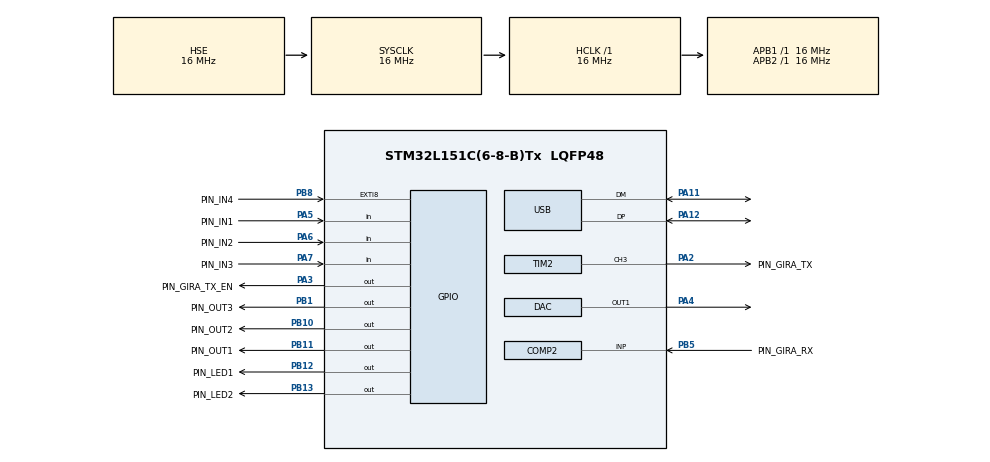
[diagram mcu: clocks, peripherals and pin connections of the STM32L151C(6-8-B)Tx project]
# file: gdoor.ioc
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COMP2.InvertingInput=COMP_INVERTINGINPUT_DAC1
COMP2.TriggerMode=COMP_TRIGGERMODE_IT_RISING
Mcu.Family=STM32L1
Mcu.Name=STM32L151C(6-8-B)Tx
Mcu.Package=LQFP48
NVIC.COMP_IRQn=true\:0\:0\:false\:false\:true\:false\:true\:true
NVIC.EXTI9_5_IRQn=true\:0\:0\:false\:false\:true\:true\:true\:true
NVIC.PriorityGroup=NVIC_PRIORITYGROUP_4
NVIC.TIM11_IRQn=true\:0\:0\:false\:false\:true\:true\:true\:true
NVIC.TIM2_IRQn=true\:0\:0\:false\:false\:true\:true\:true\:true
NVIC.TIM3_IRQn=true\:0\:0\:false\:false\:true\:true\:true\:true
NVIC.TIM4_IRQn=true\:0\:0\:false\:false\:true\:true\:true\:true
NVIC.USB_LP_IRQn=true\:0\:0\:false\:false\:true\:false\:true\:true
PA11.Mode=Device
PA11.Signal=USB_DM
PA12.Mode=Device
PA12.Signal=USB_DP
PA13.Mode=JTAG_4_pins
PA13.Signal=SYS_JTMS-SWDIO
PA14.Mode=JTAG_4_pins
PA14.Signal=SYS_JTCK-SWCLK
PA15.Mode=JTAG_4_pins
PA15.Signal=SYS_JTDI
PA2.GPIO_Label=PIN_GIRA_TX
PA2.GPIO_Speed=GPIO_SPEED_FREQ_VERY_HIGH
PA2.Signal=S_TIM2_CH3
PA3.GPIO_Label=PIN_GIRA_TX_EN
PA3.Signal=GPIO_Output
PA4.Signal=COMP_DAC1_group
PA5.GPIO_Label=PIN_IN1
PA5.GPIO_PuPd=GPIO_PULLUP
PA5.Signal=GPIO_Input
PA6.GPIO_Label=PIN_IN2
PA6.GPIO_PuPd=GPIO_PULLUP
PA6.Signal=GPIO_Input
PA7.GPIO_Label=PIN_IN3
PA7.GPIO_PuPd=GPIO_PULLUP
PA7.Signal=GPIO_Input
PB1.GPIO_Label=PIN_OUT3
PB1.GPIO_PuPd=GPIO_NOPULL
PB1.Signal=GPIO_Output
PB10.GPIO_Label=PIN_OUT2
PB10.Signal=GPIO_Output
PB11.GPIO_Label=PIN_OUT1
PB11.Signal=GPIO_Output
PB12.GPIO_Label=PIN_LED1
PB12.Signal=GPIO_Output
PB13.GPIO_Label=PIN_LED2
PB13.Signal=GPIO_Output
PB3.Mode=JTAG_4_pins
PB3.Signal=SYS_JTDO-TRACESWO
PB5.GPIO_Label=PIN_GIRA_RX
PB5.Mode=INP
PB5.Signal=COMP2_INP
PB8.GPIO_Label=PIN_IN4
PB8.GPIO_PuPd=GPIO_PULLDOWN
PB8.Signal=GPXTI8
PH0-OSC_IN.Mode=HSE-External-Oscillator
PH0-OSC_IN.Signal=RCC_OSC_IN
PH1-OSC_OUT.Mode=HSE-External-Oscillator
PH1-OSC_OUT.Signal=RCC_OSC_OUT
ProjectManager.HeapSize=0x200
ProjectManager.StackSize=0x400
ProjectManager.TargetToolchain=STM32CubeIDE
RCC.48MHZClocksFreq_Value=48000000
RCC.AHBFreq_Value=16000000
RCC.APB1Freq_Value=16000000
RCC.APB1TimFreq_Value=16000000
RCC.APB2Freq_Value=16000000
RCC.APB2TimFreq_Value=16000000
RCC.HCLKFreq_Value=16000000
RCC.HSE_VALUE=16000000
RCC.HSI_VALUE=16000000
RCC.LSE_VALUE=32768
RCC.MSI_VALUE=2097000
RCC.PLLMUL=RCC_PLL_MUL6
RCC.SYSCLKFreq_VALUE=16000000
RCC.SYSCLKSource=RCC_SYSCLKSOURCE_HSE
RCC.VCOOutputFreq_Value=96000000
SH.COMP_DAC1_group.0=DAC_OUT1,DAC_OUT1
SH.S_TIM2_CH3.0=TIM2_CH3,Output Compare3 CH3
TIM11.AutoReloadPreload=TIM_AUTORELOAD_PRELOAD_ENABLE
TIM11.Period=16000
TIM11.Prescaler=1000
TIM2.AutoReloadPreload=TIM_AUTORELOAD_PRELOAD_DISABLE
TIM2.Channel-Output\ Compare3\ CH3=TIM_CHANNEL_3
TIM2.ClockDivision=TIM_CLOCKDIVISION_DIV1
TIM2.OCMode_3=TIM_OCMODE_ACTIVE
TIM2.Period=260
TIM2.Prescaler=0
TIM2.Pulse-Output\ Compare3\ CH3=130
TIM3.Period=1000
USB.low_power_enable=DISABLE
USB.lpm_enable=ENABLE
USB_DEVICE.CLASS_NAME_FS=CDC
USB_DEVICE.VirtualMode=Cdc
USB_DEVICE.VirtualModeFS=Cdc_FS
VP_COMP2_VS_DACOUT1.Mode=INM_DACOUT1
VP_TIM11_VS_ClockSourceINT.Mode=Internal
VP_TIM2_VS_ClockSourceINT.Mode=Internal
VP_TIM3_VS_ClockSourceINT.Mode=Internal
VP_TIM4_VS_ClockSourceINT.Mode=Internal
VP_USB_DEVICE_VS_USB_DEVICE_CDC_FS.Mode=CDC_FS
board=custom

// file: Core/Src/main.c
/* USER CODE BEGIN Header */
/**
  ******************************************************************************
  * @file           : main.c
  * @brief          : Main program body
  ******************************************************************************
  * @attention
  *
  * Copyright (c) 2022 STMicroelectronics.
  * All rights reserved.
  *
  * This software is licensed under terms that can be found in the LICENSE file
  * in the root directory of this software component.
  * If no LICENSE file comes with this software, it is provided AS-IS.
  *
  ******************************************************************************
  */
/* USER CODE END Header */
#include "main.h"
#include "usb_device.h"

/* USER CODE BEGIN Includes */
#include "main_arduino.h"
#include "gdoor_rx.h"
#include "gdoor_tx.h"
#include "gdoor_io.h"
#include "usbd_cdc_if.h"
/* USER CODE END Includes */

/* USER CODE BEGIN PD */
#define USB_RX_MAXLEN 200
/* USER CODE END PD */

COMP_HandleTypeDef hcomp2;

DAC_HandleTypeDef hdac;

TIM_HandleTypeDef htim2;
TIM_HandleTypeDef htim3;
TIM_HandleTypeDef htim4;
TIM_HandleTypeDef htim11;

/* USER CODE BEGIN PV */
uint32_t usb_ptr = 0;
uint8_t usb_buffer[USB_RX_MAXLEN];
/* USER CODE END PV */

void SystemClock_Config(void);
static void MX_GPIO_Init(void);
static void MX_COMP2_Init(void);
static void MX_TIM2_Init(void);
static void MX_TIM3_Init(void);
static void MX_TIM4_Init(void);
static void MX_TIM11_Init(void);
static void MX_DAC_Init(void);

/* USER CODE BEGIN 0 */

void usb_rx_flush() {
	usb_ptr = 0;
}

void usb_rx_interrupt(uint8_t* Buf, uint32_t *Len) {
	for(uint32_t i = 0; i< *Len; i++) {
		if(usb_ptr >= USB_RX_MAXLEN) {
			usb_ptr = 0;
		}
		usb_buffer[usb_ptr] = Buf[*Len];
		usb_ptr = usb_ptr + 1;
	}
}

void HAL_TIM_PeriodElapsedCallback(TIM_HandleTypeDef *htim) {
	if(htim->Instance==TIM2) {
		arduino_timer2_interrupt();
	} else if(htim->Instance==TIM3) {
		arduino_timer3_interrupt();
	} else if(htim->Instance==TIM4) {
		arduino_timer4_interrupt();
	} else if(htim->Instance==TIM11) {
		arduino_timer11_interrupt();
	}
}

/*void HAL_TIM_IC_CaptureCallback(TIM_HandleTypeDef *htim) {
	if(htim->Instance==TIM2) {
		arduino_timer2_interrupt();
	} else if(htim->Instance==TIM3) {
		arduino_timer3_interrupt();
	} else if(htim->Instance==TIM4) {
		arduino_timer4_interrupt();
	} else if(htim->Instance==TIM11) {
		arduino_timer11_interrupt();
	}
}*/

void HAL_GPIO_EXTI_Callback(uint16_t GPIO_Pin) {
	arduino_gpio_interrupt(GPIO_Pin);
}

void HAL_COMP_TriggerCallback(COMP_HandleTypeDef *hcomp) {
	arduino_comparator_interrupt();
}

/* USER CODE END 0 */

int main(void)
{

  /* MCU Configuration--------------------------------------------------------*/

  /* Reset of all peripherals, Initializes the Flash interface and the Systick. */
  HAL_Init();

  /* Configure the system clock */
  SystemClock_Config();

  /* Initialize all configured peripherals */
  MX_GPIO_Init();
  MX_COMP2_Init();
  MX_TIM2_Init();
  MX_USB_DEVICE_Init();
  MX_TIM3_Init();
  MX_TIM4_Init();
  MX_TIM11_Init();
  MX_DAC_Init();
  /* USER CODE BEGIN 2 */
  //Launch Setup function, so that code is more clean from ST garbage
  arduino_setup();

  /* USER CODE END 2 */

  /* Infinite loop */
  /* USER CODE BEGIN WHILE */
  while (1)
  {
	 arduino_loop();
    /* USER CODE END WHILE */

  }
}

void SystemClock_Config(void)
{
  RCC_OscInitTypeDef RCC_OscInitStruct = {0};
  RCC_ClkInitTypeDef RCC_ClkInitStruct = {0};

  /** Configure the main internal regulator output voltage
  */
  __HAL_PWR_VOLTAGESCALING_CONFIG(PWR_REGULATOR_VOLTAGE_SCALE1);

  /** Initializes the RCC Oscillators according to the specified parameters
  * in the RCC_OscInitTypeDef structure.
  */
  RCC_OscInitStruct.OscillatorType = RCC_OSCILLATORTYPE_HSE;
  RCC_OscInitStruct.HSEState = RCC_HSE_ON;
  RCC_OscInitStruct.PLL.PLLState = RCC_PLL_ON;
  RCC_OscInitStruct.PLL.PLLSource = RCC_PLLSOURCE_HSE;
  RCC_OscInitStruct.PLL.PLLMUL = RCC_PLL_MUL6;
  RCC_OscInitStruct.PLL.PLLDIV = RCC_PLL_DIV2;
  if (HAL_RCC_OscConfig(&RCC_OscInitStruct) != HAL_OK)
  {
    Error_Handler();
  }

  /** Initializes the CPU, AHB and APB buses clocks
  */
  RCC_ClkInitStruct.ClockType = RCC_CLOCKTYPE_HCLK|RCC_CLOCKTYPE_SYSCLK
                              |RCC_CLOCKTYPE_PCLK1|RCC_CLOCKTYPE_PCLK2;
  RCC_ClkInitStruct.SYSCLKSource = RCC_SYSCLKSOURCE_HSE;
  RCC_ClkInitStruct.AHBCLKDivider = RCC_SYSCLK_DIV1;
  RCC_ClkInitStruct.APB1CLKDivider = RCC_HCLK_DIV1;
  RCC_ClkInitStruct.APB2CLKDivider = RCC_HCLK_DIV1;

  if (HAL_RCC_ClockConfig(&RCC_ClkInitStruct, FLASH_LATENCY_0) != HAL_OK)
  {
    Error_Handler();
  }
}

static void MX_COMP2_Init(void)
{

  hcomp2.Instance = COMP2;
  hcomp2.Init.InvertingInput = COMP_INVERTINGINPUT_DAC1;
  hcomp2.Init.NonInvertingInput = COMP_NONINVERTINGINPUT_PB5;
  hcomp2.Init.Output = COMP_OUTPUT_NONE;
  hcomp2.Init.Mode = COMP_MODE_LOWSPEED;
  hcomp2.Init.WindowMode = COMP_WINDOWMODE_DISABLE;
  hcomp2.Init.TriggerMode = COMP_TRIGGERMODE_IT_RISING;
  if (HAL_COMP_Init(&hcomp2) != HAL_OK)
  {
    Error_Handler();
  }

}

static void MX_DAC_Init(void)
{

  DAC_ChannelConfTypeDef sConfig = {0};

  /** DAC Initialization
  */
  hdac.Instance = DAC;
  if (HAL_DAC_Init(&hdac) != HAL_OK)
  {
    Error_Handler();
  }

  /** DAC channel OUT1 config
  */
  sConfig.DAC_Trigger = DAC_TRIGGER_NONE;
  sConfig.DAC_OutputBuffer = DAC_OUTPUTBUFFER_ENABLE;
  if (HAL_DAC_ConfigChannel(&hdac, &sConfig, DAC_CHANNEL_1) != HAL_OK)
  {
    Error_Handler();
  }

}

static void MX_TIM2_Init(void)
{

  TIM_ClockConfigTypeDef sClockSourceConfig = {0};
  TIM_MasterConfigTypeDef sMasterConfig = {0};
  TIM_OC_InitTypeDef sConfigOC = {0};

  htim2.Instance = TIM2;
  htim2.Init.Prescaler = 0;
  htim2.Init.CounterMode = TIM_COUNTERMODE_UP;
  htim2.Init.Period = 260;
  htim2.Init.ClockDivision = TIM_CLOCKDIVISION_DIV1;
  htim2.Init.AutoReloadPreload = TIM_AUTORELOAD_PRELOAD_DISABLE;
  if (HAL_TIM_Base_Init(&htim2) != HAL_OK)
  {
    Error_Handler();
  }
  sClockSourceConfig.ClockSource = TIM_CLOCKSOURCE_INTERNAL;
  if (HAL_TIM_ConfigClockSource(&htim2, &sClockSourceConfig) != HAL_OK)
  {
    Error_Handler();
  }
  if (HAL_TIM_OC_Init(&htim2) != HAL_OK)
  {
    Error_Handler();
  }
  sMasterConfig.MasterOutputTrigger = TIM_TRGO_RESET;
  sMasterConfig.MasterSlaveMode = TIM_MASTERSLAVEMODE_DISABLE;
  if (HAL_TIMEx_MasterConfigSynchronization(&htim2, &sMasterConfig) != HAL_OK)
  {
    Error_Handler();
  }
  sConfigOC.OCMode = TIM_OCMODE_ACTIVE;
  sConfigOC.Pulse = 130;
  sConfigOC.OCPolarity = TIM_OCPOLARITY_HIGH;
  sConfigOC.OCFastMode = TIM_OCFAST_DISABLE;
  if (HAL_TIM_OC_ConfigChannel(&htim2, &sConfigOC, TIM_CHANNEL_3) != HAL_OK)
  {
    Error_Handler();
  }
  HAL_TIM_MspPostInit(&htim2);

}

static void MX_TIM3_Init(void)
{

  TIM_ClockConfigTypeDef sClockSourceConfig = {0};
  TIM_MasterConfigTypeDef sMasterConfig = {0};

  htim3.Instance = TIM3;
  htim3.Init.Prescaler = 0;
  htim3.Init.CounterMode = TIM_COUNTERMODE_UP;
  htim3.Init.Period = 1000;
  htim3.Init.ClockDivision = TIM_CLOCKDIVISION_DIV1;
  htim3.Init.AutoReloadPreload = TIM_AUTORELOAD_PRELOAD_DISABLE;
  if (HAL_TIM_Base_Init(&htim3) != HAL_OK)
  {
    Error_Handler();
  }
  sClockSourceConfig.ClockSource = TIM_CLOCKSOURCE_INTERNAL;
  if (HAL_TIM_ConfigClockSource(&htim3, &sClockSourceConfig) != HAL_OK)
  {
    Error_Handler();
  }
  sMasterConfig.MasterOutputTrigger = TIM_TRGO_RESET;
  sMasterConfig.MasterSlaveMode = TIM_MASTERSLAVEMODE_DISABLE;
  if (HAL_TIMEx_MasterConfigSynchronization(&htim3, &sMasterConfig) != HAL_OK)
  {
    Error_Handler();
  }

}

static void MX_TIM4_Init(void)
{

  TIM_ClockConfigTypeDef sClockSourceConfig = {0};
  TIM_MasterConfigTypeDef sMasterConfig = {0};

  htim4.Instance = TIM4;
  htim4.Init.Prescaler = 0;
  htim4.Init.CounterMode = TIM_COUNTERMODE_UP;
  htim4.Init.Period = 65535;
  htim4.Init.ClockDivision = TIM_CLOCKDIVISION_DIV1;
  htim4.Init.AutoReloadPreload = TIM_AUTORELOAD_PRELOAD_DISABLE;
  if (HAL_TIM_Base_Init(&htim4) != HAL_OK)
  {
    Error_Handler();
  }
  sClockSourceConfig.ClockSource = TIM_CLOCKSOURCE_INTERNAL;
  if (HAL_TIM_ConfigClockSource(&htim4, &sClockSourceConfig) != HAL_OK)
  {
    Error_Handler();
  }
  sMasterConfig.MasterOutputTrigger = TIM_TRGO_RESET;
  sMasterConfig.MasterSlaveMode = TIM_MASTERSLAVEMODE_DISABLE;
  if (HAL_TIMEx_MasterConfigSynchronization(&htim4, &sMasterConfig) != HAL_OK)
  {
    Error_Handler();
  }

}

static void MX_TIM11_Init(void)
{

  TIM_ClockConfigTypeDef sClockSourceConfig = {0};

  htim11.Instance = TIM11;
  htim11.Init.Prescaler = 1000;
  htim11.Init.CounterMode = TIM_COUNTERMODE_UP;
  htim11.Init.Period = 16000;
  htim11.Init.ClockDivision = TIM_CLOCKDIVISION_DIV1;
  htim11.Init.AutoReloadPreload = TIM_AUTORELOAD_PRELOAD_ENABLE;
  if (HAL_TIM_Base_Init(&htim11) != HAL_OK)
  {
    Error_Handler();
  }
  sClockSourceConfig.ClockSource = TIM_CLOCKSOURCE_INTERNAL;
  if (HAL_TIM_ConfigClockSource(&htim11, &sClockSourceConfig) != HAL_OK)
  {
    Error_Handler();
  }

}

static void MX_GPIO_Init(void)
{
  GPIO_InitTypeDef GPIO_InitStruct = {0};

  /* GPIO Ports Clock Enable */
  __HAL_RCC_GPIOH_CLK_ENABLE();
  __HAL_RCC_GPIOA_CLK_ENABLE();
  __HAL_RCC_GPIOB_CLK_ENABLE();

  /*Configure GPIO pin Output Level */
  HAL_GPIO_WritePin(PIN_GIRA_TX_EN_GPIO_Port, PIN_GIRA_TX_EN_Pin, GPIO_PIN_RESET);

  /*Configure GPIO pin Output Level */
  HAL_GPIO_WritePin(GPIOB, PIN_OUT3_Pin|PIN_OUT2_Pin|PIN_OUT1_Pin|PIN_LED1_Pin
                          |PIN_LED2_Pin, GPIO_PIN_RESET);

  /*Configure GPIO pin : PIN_GIRA_TX_EN_Pin */
  GPIO_InitStruct.Pin = PIN_GIRA_TX_EN_Pin;
  GPIO_InitStruct.Mode = GPIO_MODE_OUTPUT_PP;
  GPIO_InitStruct.Pull = GPIO_NOPULL;
  GPIO_InitStruct.Speed = GPIO_SPEED_FREQ_LOW;
  HAL_GPIO_Init(PIN_GIRA_TX_EN_GPIO_Port, &GPIO_InitStruct);

  /*Configure GPIO pins : PIN_IN1_Pin PIN_IN2_Pin PIN_IN3_Pin */
  GPIO_InitStruct.Pin = PIN_IN1_Pin|PIN_IN2_Pin|PIN_IN3_Pin;
  GPIO_InitStruct.Mode = GPIO_MODE_INPUT;
  GPIO_InitStruct.Pull = GPIO_PULLUP;
  HAL_GPIO_Init(GPIOA, &GPIO_InitStruct);

  /*Configure GPIO pins : PIN_OUT3_Pin PIN_OUT2_Pin PIN_OUT1_Pin PIN_LED1_Pin
                           PIN_LED2_Pin */
  GPIO_InitStruct.Pin = PIN_OUT3_Pin|PIN_OUT2_Pin|PIN_OUT1_Pin|PIN_LED1_Pin
                          |PIN_LED2_Pin;
  GPIO_InitStruct.Mode = GPIO_MODE_OUTPUT_PP;
  GPIO_InitStruct.Pull = GPIO_NOPULL;
  GPIO_InitStruct.Speed = GPIO_SPEED_FREQ_LOW;
  HAL_GPIO_Init(GPIOB, &GPIO_InitStruct);

  /*Configure GPIO pin : PIN_IN4_Pin */
  GPIO_InitStruct.Pin = PIN_IN4_Pin;
  GPIO_InitStruct.Mode = GPIO_MODE_IT_RISING;
  GPIO_InitStruct.Pull = GPIO_PULLDOWN;
  HAL_GPIO_Init(PIN_IN4_GPIO_Port, &GPIO_InitStruct);

  /* EXTI interrupt init*/
  HAL_NVIC_SetPriority(EXTI9_5_IRQn, 0, 0);
  HAL_NVIC_EnableIRQ(EXTI9_5_IRQn);

}

/* USER CODE BEGIN 4 */
// Function to overwrite printf to USB
// https://github.com/alexeykosinov/Redirect-printf-to-USB-VCP-on-STM32H7-MCU
int _write(int file, char *ptr, int len) {
    static uint8_t rc = USBD_OK;
    static uint8_t retry = 0;

    retry = 0;

    if(len > 0xFFFF) {
    	return 0;
    }

    do {
        rc = CDC_Transmit_FS((uint8_t*)ptr, (uint16_t)len);
        retry = retry + 1;
    } while (USBD_BUSY == rc && retry < 20);

    if (USBD_FAIL == rc || USBD_BUSY == rc) {
        /// NOTE: Should never reach here.
        /// TODO: Handle this error.
        return 0;
    }
    return len;
}

// To enable scanf
int __io_getchar(void) {
	if(usb_ptr == 0) {
		return EOF;
	}

	return usb_buffer[usb_ptr--];
}

/* USER CODE END 4 */

void Error_Handler(void)
{
  __disable_irq();
  while (1)
  {
  }
}
